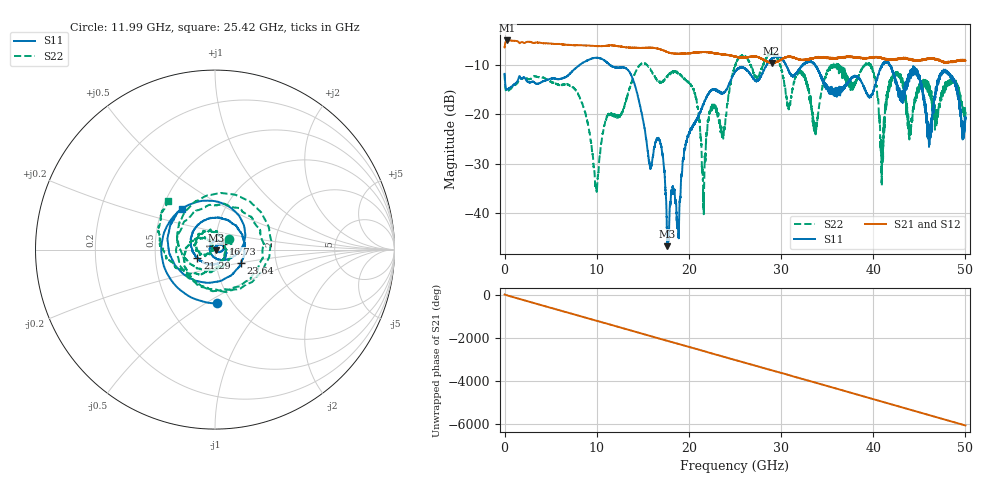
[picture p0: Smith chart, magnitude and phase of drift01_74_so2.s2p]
!Created with skrf (http://scikit-rf.org).
# Hz S RI R 50.0
!freq ReS11 ImS11 ReS21 ImS21 ReS12 ImS12 ReS22 ImS22
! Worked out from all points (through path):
!   10001 points, 300 kHz to 50 GHz, reference 50 ohm
!   highest |S21| = -5.05 dB at 310.3 MHz (marker M1); lowest = -9.6 dB at 28.97 GHz (marker M2)
!   group delay of S21, straight-line fit = 336 ps
!   lowest |S11| = -46.6 dB at 17.66 GHz (marker M3), VSWR 1.01, Z = 50.4 - j0.287 ohm
!   |S11| at or under -10 dB: start of sweep to 8.151 GHz; 11.43 GHz to 28.42 GHz (16.99 GHz wide, 85.3 % of centre); 41.82 GHz to end of sweep (the widest 3 of 14)
!   |S22| runs from -40.2 to -7.6 dB; largest |S21 - S12| = 0.017
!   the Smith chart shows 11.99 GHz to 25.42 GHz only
!   S11 on the Smith chart (normalised r, x): 11.99 GHz: 0.85, -0.56; 16.73 GHz: 1.10, +0.07; 21.29 GHz: 0.82, -0.07; 23.64 GHz: 1.32, -0.20; 25.42 GHz: 0.63, +0.31
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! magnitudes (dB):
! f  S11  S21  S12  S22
! 300 kHz  -11.8  -6.4  -6.5  -11.8
! 310.3 MHz  -14.9  -5.1  -5.1  -15.4
! 8.335 GHz  -9.7  -6.0  -6.0  -17.5
! 9.95 GHz  -8.6  -6.2  -6.2  -34.8
! 11.99 GHz  -10.5  -6.1  -6.1  -20.4
! 16.67 GHz  -24.7  -6.7  -6.7  -13.3
! 16.73 GHz  -25.0  -6.7  -6.8  -13.4
! 17.66 GHz  -46.6  -7.4  -7.4  -12.5
! 20.39 GHz  -22.3  -7.6  -7.6  -14.6
! 21.29 GHz  -19.4  -7.4  -7.4  -24.8
! 23.64 GHz  -15.7  -7.9  -7.8  -23.9
! 25 GHz  -11.4  -8.3  -8.3  -10.1
! 25.42 GHz  -10.7  -8.5  -8.5  -8.5
! 28.97 GHz  -8.8  -9.6  -9.5  -7.6
! 33.34 GHz  -9.5  -8.7  -8.7  -19.3
! 39.49 GHz  -16.3  -8.6  -8.5  -9.7
! 40.97 GHz  -10.1  -8.7  -8.7  -27.6
! 41.67 GHz  -9.5  -8.8  -8.9  -14.1
! 44.72 GHz  -11.7  -9.1  -9.1  -15.9
! 46.11 GHz  -24.3  -8.8  -8.7  -14.7
! 48.04 GHz  -11.7  -9.4  -9.4  -13.8
! 50 GHz  -20.7  -9.1  -9.1  -20.3
